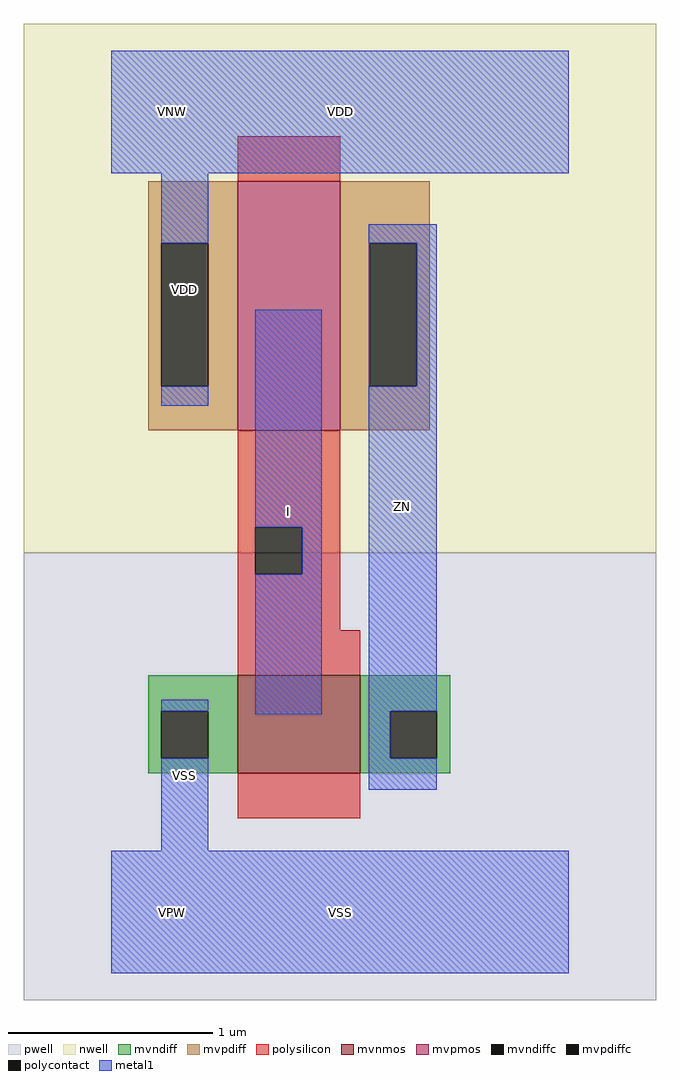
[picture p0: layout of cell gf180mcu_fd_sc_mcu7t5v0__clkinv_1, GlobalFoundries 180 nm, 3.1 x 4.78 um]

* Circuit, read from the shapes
.subckt gf180mcu_fd_sc_mcu7t5v0__clkinv_1 I ZN VDD VNW VPW VSS
XM1 ZN I VSS VPW nfet_06v0 w=0.48u l=0.6u
XM2 ZN I VDD VNW pfet_06v0 w=1.22u l=0.5u
.ends

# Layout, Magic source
magic
tech gf180mcuD
magscale 1 10
<< nwell >>
rect -86 352 534 870
<< pwell >>
rect -86 -86 534 352
<< mvnmos >>
rect 124 136 244 232
<< mvpmos >>
rect 124 472 224 716
<< mvndiff >>
rect 36 197 124 232
rect 36 151 49 197
rect 95 151 124 197
rect 36 136 124 151
rect 244 197 332 232
rect 244 151 273 197
rect 319 151 332 197
rect 244 136 332 151
<< mvpdiff >>
rect 36 655 124 716
rect 36 515 49 655
rect 95 515 124 655
rect 36 472 124 515
rect 224 655 312 716
rect 224 515 253 655
rect 299 515 312 655
rect 224 472 312 515
<< mvndiffc >>
rect 49 151 95 197
rect 273 151 319 197
<< mvpdiffc >>
rect 49 515 95 655
rect 253 515 299 655
<< polysilicon >>
rect 124 716 224 760
rect 124 377 224 472
rect 124 331 141 377
rect 187 331 224 377
rect 124 276 224 331
rect 124 232 244 276
rect 124 92 244 136
<< polycontact >>
rect 141 331 187 377
<< metal1 >>
rect 0 724 448 844
rect 49 655 95 724
rect 252 655 319 674
rect 49 496 95 515
rect 141 377 206 590
rect 187 331 206 377
rect 49 197 95 208
rect 141 194 206 331
rect 252 515 253 655
rect 299 515 319 655
rect 252 197 319 515
rect 49 60 95 151
rect 252 151 273 197
rect 252 120 319 151
rect 0 -60 448 60
<< labels >>
flabel metal1 s 0 724 448 844 0 FreeSans 600 0 0 0 VDD
port 3 nsew power bidirectional abutment
flabel metal1 s 49 60 95 208 0 FreeSans 600 0 0 0 VSS
port 6 nsew ground bidirectional abutment
flabel metal1 s 141 194 206 590 0 FreeSans 600 0 0 0 I
port 1 nsew default input
flabel metal1 s 252 120 319 674 0 FreeSans 600 0 0 0 ZN
port 2 nsew default output
flabel nwell s 10 734 110 834 0 FreeSans 400 0 0 0 VNW
port 4 nsew power bidirectional
flabel pwell s 10 -50 110 50 0 FreeSans 400 0 0 0 VPW
port 5 nsew ground bidirectional
rlabel metal1 s 49 496 95 724 1 VDD
port 3 nsew power bidirectional abutment
rlabel metal1 s 0 -60 448 60 1 VSS
port 6 nsew ground bidirectional abutment
<< properties >>
string FIXED_BBOX 0 0 448 784
string GDS_END 817360
string GDS_FILE $PDKPATH/libs.ref/gf180mcu_fd_sc_mcu7t5v0/gds/gf180mcu_fd_sc_mcu7t5v0.gds
string GDS_START 815228
string LEFclass core
string LEFsite GF018hv5v_mcu_sc7
string LEFsymmetry X Y
string MASKHINTS_DUALGATE -56 764 44 840 304 764 504 840 -56 424 -12 764 360 424 504 764 -56 280 44 424 324 280 504 424 -56 88 -12 280 380 88 504 280 -56 12 44 88 324 12 504 88 -56 -56 504 12
string MASKHINTS_NPLUS -40 278 488 352 -40 264 78 278 290 264 488 278 -40 104 4 264 364 104 488 264 -40 90 78 104 290 90 488 104 -40 -40 488 90
string MASKHINTS_PPLUS -40 762 488 824 -40 748 78 762 270 748 488 762 -40 440 4 748 344 440 488 748 -40 426 78 440 270 426 488 440 -40 352 488 426
<< end >>
